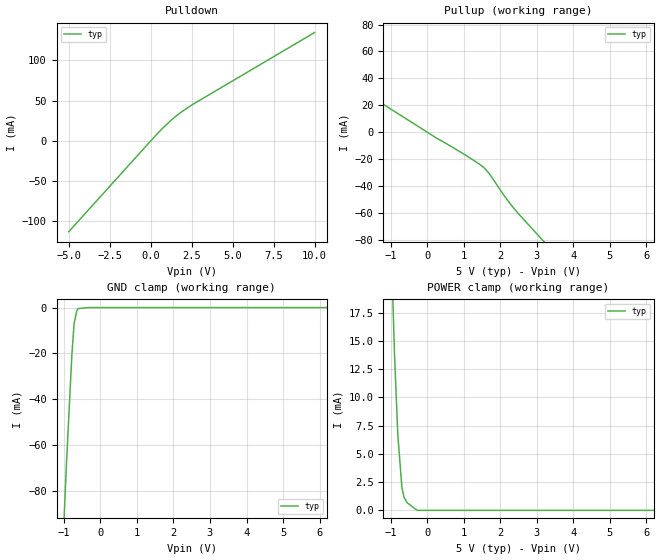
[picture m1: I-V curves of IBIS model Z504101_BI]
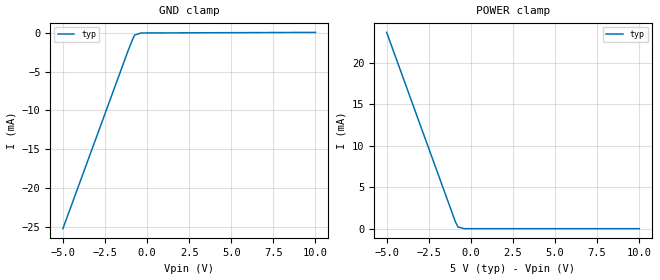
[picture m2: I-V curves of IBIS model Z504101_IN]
| YOU ARE ONLY AUTHORIZED TO USE THIS SOFTWARE
| ACCORDING TO LICENSOR'S LICENSE RESTRICTIONS.
[IBIS Ver] 3.1
[File Name] mc54hc4053j.ibs
[File Rev] 2.0
[Source] Measured and created by ICX Technology
[Date] Friday 7/14/00 9:08:07 AM
[Copyright]
| (C) COPYRIGHT 1993-2000
| MENTOR GRAPHICS CORPORATION
| ICX STANDARD LIBRARY, ICX PROJECT MODELING,
| ICX CUSTOM MODELING, ICX VENDOR MODEL
| ALL RIGHTS RESERVED.
| THE FOLLOWING ARE TRADEMARKS OR SERVICE MARKS OF
| MENTOR GRAPHICS CORPORATION:ICX (R), ICX STANDARD
| LIBRARY(R), ICX PROJECT MODELING(R), ICX CUSTOM
| MODELING(R), qualityIBIS(TM), MODELVIEWER(TM),
| AND MODELEDITOR(TM)
| ALL COPIES OF SOFTWARE, INCLUDING BUT NOT LIMITED TO
| ANY MODIFICATIONS, ENHANCEMENTS OR DERIVATIVE WORKS,
| MUST CONTAIN ALL MENTOR GRAPHICS CORPORATION'S
| NOTICES AND LEGENDS, INCLUDING THOSE EMBEDDED IN
| SOFTWARE AND THOSE AFFIXED TO SOFTWARE MEDIUM
| AND CONTAINER, AS RECEIVED FROM MENTOR GRAPHICS
| CORPORATION.
|  ZAP Model Builder 2.7
[Component] MC54HC4053J
[Manufacturer] OnSemiconductor
[Package]
| variable   typ   min   max
R_pkg  .212ohms NA NA
L_pkg  4.758nH NA NA
C_pkg  1.944pF NA NA
[Pin] signal_name  model_name  R_pin  L_pin C_pin
1 B1B Z504101_BI .224 7.258n 2.683p
2 B0B Z504101_BI .216 5.258n 2.19p
3 B1C Z504101_BI .208 3.758n 1.697p
4 S3 Z504101_BI .2 2.758n 1.204p
5 B0C Z504101_BI .2 2.758n 1.204p
6 _G Z504101_IN .208 3.758n 1.697p
7 VEE GND .216 5.258n 2.19p
8 GND GND .224 7.258n 2.683p
9 A3 Z504101_IN .224 7.258n 2.683p
10 A2 Z504101_IN .216 5.258n 2.19p
11 A1 Z504101_IN .208 3.758n 1.697p
12 B0A Z504101_BI .2 2.758n 1.204p
13 B1A Z504101_BI .2 2.758n 1.204p
14 S1 Z504101_BI .208 3.758n 1.697p
15 S2 Z504101_BI .216 5.258n 2.19p
16 VCC POWER .224 7.258n 2.683p
| Models and submodels in the file (2): Z504101_BI (I/O), Z504101_IN (Input)
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| (C) COPYRIGHT 1993-2000
| MENTOR GRAPHICS CORPORATION
| ICX STANDARD LIBRARY, ICX PROJECT MODELING,
| ICX CUSTOM MODELING, ICX VENDOR MODEL
| ALL RIGHTS RESERVED.
| THE FOLLOWING ARE TRADEMARKS OR SERVICE MARKS OF
| MENTOR GRAPHICS CORPORATION:ICX (R), ICX STANDARD
| LIBRARY(R), ICX PROJECT MODELING(R), ICX CUSTOM
| MODELING(R), qualityIBIS(TM), MODELVIEWER(TM),
| AND MODELEDITOR(TM)
| ALL COPIES OF SOFTWARE, INCLUDING BUT NOT LIMITED TO
| ANY MODIFICATIONS, ENHANCEMENTS OR DERIVATIVE WORKS,
| MUST CONTAIN ALL MENTOR GRAPHICS CORPORATION'S
| NOTICES AND LEGENDS, INCLUDING THOSE EMBEDDED IN
| SOFTWARE AND THOSE AFFIXED TO SOFTWARE MEDIUM
| AND CONTAINER, AS RECEIVED FROM MENTOR GRAPHICS
| CORPORATION.
| Model Application Version 1.89 2/18/99.
[Model] Z504101_BI
Model_type I/O
Vinl=1.000V
Vinh=3.500V
Vref=0.000V
Rref=500.0Mohms
Cref=50.00pF
Vmeas=2.500V
C_comp 8.000pF NA NA
| variable typ   min   max
[Voltage Range] 5.000V NA NA
[POWER Clamp Reference] 5.000V NA NA
[Pullup Reference] 5.000V NA NA
[Pulldown Reference] 0.000V NA NA
[GND Clamp Reference] 0.000V NA NA
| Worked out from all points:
|   slope of the pulldown table from 0 to 0.75 V, typ, clamps not added: 46.4 ohm
|   slope of the pullup table from 0 to 0.75 V, typ, clamps not added: 61.7 ohm
|   GND clamp passes 1 mA (typ) near -0.63 V on its own axis
|   POWER clamp passes 1 mA (typ) near -0.61 V on its own axis
[GND Clamp]
-5V       -1.56A     NA         NA
-927.7mV  -67.93mA   NA         NA
-780.5mV  -20.7mA    NA         NA
-718.2mV  -6.79mA    NA         NA
-642.1mV  -1.176mA   NA         NA
-605.5mV  -410.9uA   NA         NA
-302.7mV  0A         NA         NA
10V       0A         NA         NA
[Pulldown]
-5V       -112.6mA   NA         NA
295mV     6.791mA    NA         NA
707.7mV   15.49mA    NA         NA
1.24V     25.71mA    NA         NA
1.534V    30.79mA    NA         NA
1.929V    36.86mA    NA         NA
2.583V    45.69mA    NA         NA
10V       134.7mA    NA         NA
[Pullup]
-5V       86.2mA     NA         NA
230mV     -4.047mA   NA         NA
669mV     -10.9mA    NA         NA
1.084V    -17.72mA   NA         NA
1.436V    -23.99mA   NA         NA
1.555V    -26.49mA   NA         NA
1.712V    -31.37mA   NA         NA
2.074V    -46.11mA   NA         NA
2.286V    -53.89mA   NA         NA
2.481V    -60.27mA   NA         NA
10V       -284.3mA   NA         NA
[POWER Clamp]
-5V       541mA      NA         NA
-1.004V   25.38mA    NA         NA
-896mV    13.82mA    NA         NA
-806mV    6.719mA    NA         NA
-692mV    1.987mA    NA         NA
-635mV    1.16mA     NA         NA
-554mV    688uA      NA         NA
-277mV    0A         NA         NA
10V       0A         NA         NA
[Ramp]
| variable typ min max
dV/dt_r 2.678/5.029n NA NA
dV/dt_f 2.678/9.419n NA NA
R_load = 500.0Ohms
| (C) COPYRIGHT 1993-2000
| MENTOR GRAPHICS CORPORATION
| ICX STANDARD LIBRARY, ICX PROJECT MODELING,
| ICX CUSTOM MODELING, ICX VENDOR MODEL
| ALL RIGHTS RESERVED.
| THE FOLLOWING ARE TRADEMARKS OR SERVICE MARKS OF
| MENTOR GRAPHICS CORPORATION:ICX (R), ICX STANDARD
| LIBRARY(R), ICX PROJECT MODELING(R), ICX CUSTOM
| MODELING(R), qualityIBIS(TM), MODELVIEWER(TM),
| AND MODELEDITOR(TM)
| ALL COPIES OF SOFTWARE, INCLUDING BUT NOT LIMITED TO
| ANY MODIFICATIONS, ENHANCEMENTS OR DERIVATIVE WORKS,
| MUST CONTAIN ALL MENTOR GRAPHICS CORPORATION'S
| NOTICES AND LEGENDS, INCLUDING THOSE EMBEDDED IN
| SOFTWARE AND THOSE AFFIXED TO SOFTWARE MEDIUM
| AND CONTAINER, AS RECEIVED FROM MENTOR GRAPHICS
| CORPORATION.
| Model Application Version 1.89 2/18/99.
[Model] Z504101_IN
Model_type Input
Vinl = 1.000V
Vinh = 3.500V
C_comp 4.000pF NA NA
| variable typ   min   max
[Voltage Range] 5.000V NA NA
[GND Clamp Reference] 0.000V NA NA
[POWER Clamp Reference] 5.000V NA NA
[GND Clamp]
-5V       -25.24mA   NA         NA
-1.14V    -2.368mA   NA         NA
-852.4mV  -796.4uA   NA         NA
-739.3mV  -282.8uA   NA         NA
-369.7mV  -12.87uA   NA         NA
10V       62.03uA    NA         NA
[POWER Clamp]
-5V       23.7mA     NA         NA
-918mV    832.6uA    NA         NA
-762mV    197.3uA    NA         NA
-381mV    0A         NA         NA
10V       0A         NA         NA
